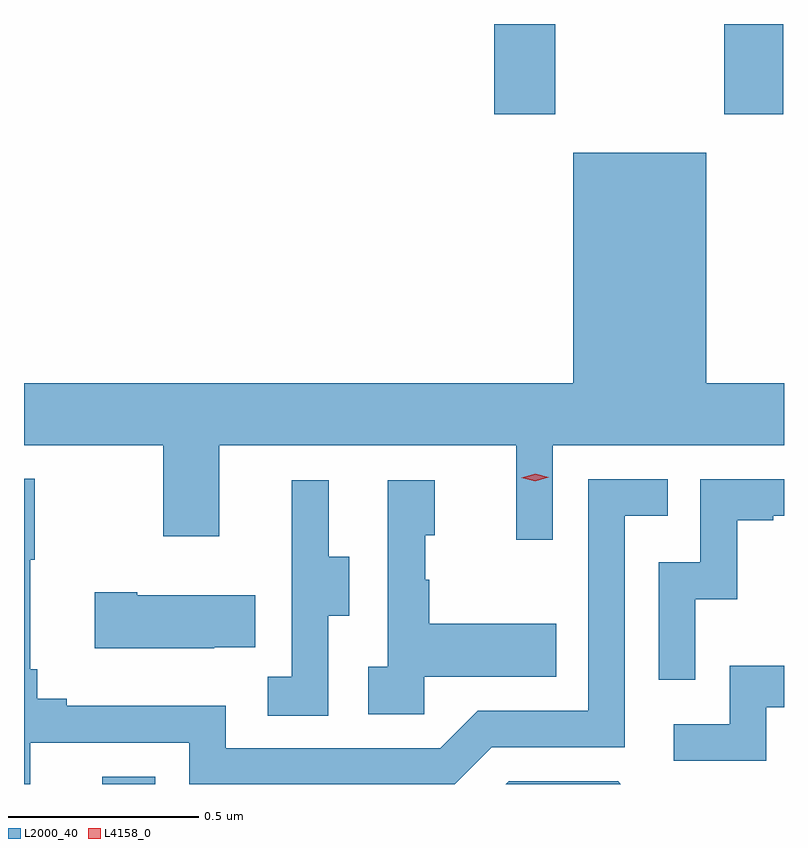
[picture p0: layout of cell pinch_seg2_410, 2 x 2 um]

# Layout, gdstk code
import gdstk
lib = gdstk.Library(unit=1e-6, precision=1e-09)
def R(c, l, rs):  # rectangles x0, y0, x1, y1
    for r in rs: c.add(gdstk.rectangle(r[:2], r[2:], *l))
def P(c, l, *ps):  # polygons
    for p in ps: c.add(gdstk.Polygon(p, *l))
L2000_40 = (2000, 40)
L4158_0 = (4158, 0)

pinch_seg2_410 = lib.new_cell('pinch_seg2_410')
R(pinch_seg2_410, L2000_40, [(965.975,621.437,966.114,621.456), (967.007,623.199,967.167,623.437), (967.612,623.199,967.767,623.437)])
P(pinch_seg2_410, L2000_40, [(967.161,622.328),(967.769,622.328),(967.769,622.492),(967.564,622.492),(967.564,623.098),(967.214,623.098),(967.214,622.492),(965.769,622.492),(965.769,622.328),(966.136,622.328),(966.136,622.089),(966.283,622.089),(966.283,622.328),(967.064,622.328),(967.064,622.08),(967.161,622.08)],
  [(965.786,621.546),(966.204,621.546),(966.204,621.437),(966.903,621.437),(967,621.534),(967.35,621.534),(967.35,622.143),(967.463,622.143),(967.463,622.239),(967.254,622.239),(967.254,621.63),(966.963,621.63),(966.864,621.531),(966.3,621.531),(966.3,621.643),(965.881,621.643),(965.881,621.662),(965.804,621.662),(965.804,621.739),(965.785,621.739),(965.785,622.027),(965.797,622.027),(965.797,622.24),(965.769,622.24),(965.769,621.437),(965.786,621.437)],
  [(967.536,621.923),(967.646,621.923),(967.646,622.131),(967.741,622.131),(967.741,622.143),(967.769,622.143),(967.769,622.239),(967.548,622.239),(967.548,622.02),(967.44,622.02),(967.44,621.711),(967.536,621.711)],
  [(966.57,621.88),(966.625,621.88),(966.625,622.035),(966.571,622.035),(966.571,622.237),(966.473,622.237),(966.473,622.023),(966.474,622.023),(966.474,621.719),(966.411,621.719),(966.411,621.616),(966.57,621.616)],
  [(966.822,621.719),(967.169,621.719),(967.169,621.859),(966.835,621.859),(966.835,621.974),(966.825,621.974),(966.825,622.092),(966.85,622.092),(966.85,622.237),(966.726,622.237),(966.726,621.746),(966.675,621.746),(966.675,621.621),(966.822,621.621)],
  [(966.269,621.797),(966.377,621.797),(966.377,621.934),(966.067,621.934),(966.067,621.942),(965.955,621.942),(965.955,621.794),(966.269,621.794)],
  [(967.722,621.639),(967.769,621.639),(967.769,621.748),(967.626,621.748),(967.626,621.594),(967.479,621.594),(967.479,621.498),(967.722,621.498)],
  [(967.333,621.444),(967.044,621.444),(967.037,621.437),(967.34,621.437)])
P(pinch_seg2_410, L4158_0, [(967.114,622.234),(967.078,622.243),(967.078,622.243),(967.078,622.243),(967.114,622.254),(967.15,622.244),(967.15,622.244),(967.15,622.244)])

lib.write_gds('pinch_seg2_410.gds')
